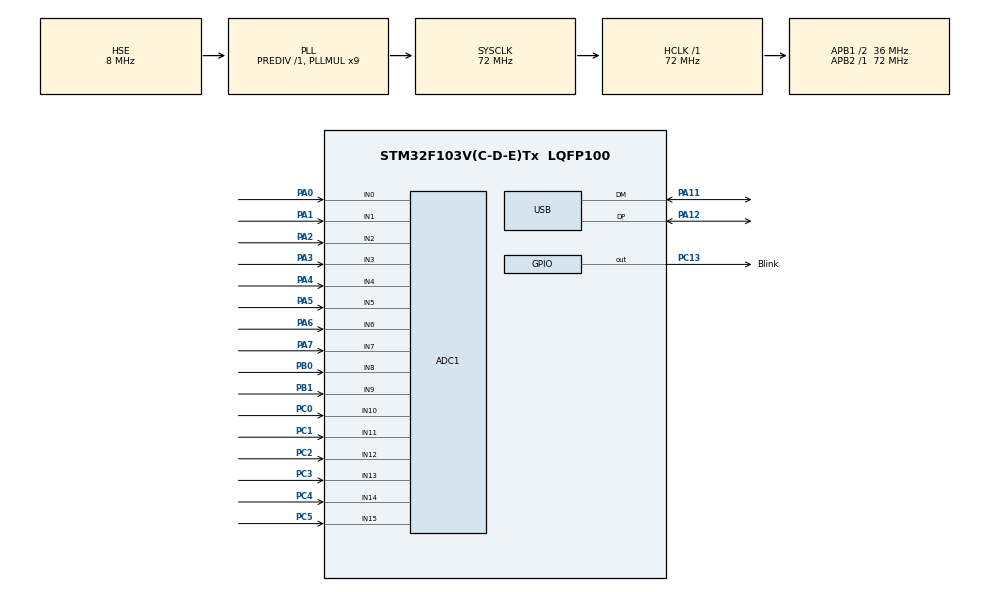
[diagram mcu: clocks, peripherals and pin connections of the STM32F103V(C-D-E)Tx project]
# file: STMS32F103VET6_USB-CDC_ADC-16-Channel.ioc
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ADC1.Channel-0\#ChannelRegularConversion=ADC_CHANNEL_0
ADC1.Channel-1\#ChannelRegularConversion=ADC_CHANNEL_1
ADC1.Channel-10\#ChannelRegularConversion=ADC_CHANNEL_10
ADC1.Channel-11\#ChannelRegularConversion=ADC_CHANNEL_11
ADC1.Channel-12\#ChannelRegularConversion=ADC_CHANNEL_12
ADC1.Channel-13\#ChannelRegularConversion=ADC_CHANNEL_13
ADC1.Channel-14\#ChannelRegularConversion=ADC_CHANNEL_14
ADC1.Channel-15\#ChannelRegularConversion=ADC_CHANNEL_15
ADC1.Channel-2\#ChannelRegularConversion=ADC_CHANNEL_2
ADC1.Channel-3\#ChannelRegularConversion=ADC_CHANNEL_3
ADC1.Channel-4\#ChannelRegularConversion=ADC_CHANNEL_4
ADC1.Channel-5\#ChannelRegularConversion=ADC_CHANNEL_5
ADC1.Channel-6\#ChannelRegularConversion=ADC_CHANNEL_6
ADC1.Channel-7\#ChannelRegularConversion=ADC_CHANNEL_7
ADC1.Channel-8\#ChannelRegularConversion=ADC_CHANNEL_8
ADC1.Channel-9\#ChannelRegularConversion=ADC_CHANNEL_9
ADC1.NbrOfConversion=16
ADC1.NbrOfConversionFlag=1
ADC1.Rank-0\#ChannelRegularConversion=1
ADC1.Rank-1\#ChannelRegularConversion=2
ADC1.Rank-10\#ChannelRegularConversion=11
ADC1.Rank-11\#ChannelRegularConversion=12
ADC1.Rank-12\#ChannelRegularConversion=13
ADC1.Rank-13\#ChannelRegularConversion=14
ADC1.Rank-14\#ChannelRegularConversion=15
ADC1.Rank-15\#ChannelRegularConversion=16
ADC1.Rank-2\#ChannelRegularConversion=3
ADC1.Rank-3\#ChannelRegularConversion=4
ADC1.Rank-4\#ChannelRegularConversion=5
ADC1.Rank-5\#ChannelRegularConversion=6
ADC1.Rank-6\#ChannelRegularConversion=7
ADC1.Rank-7\#ChannelRegularConversion=8
ADC1.Rank-8\#ChannelRegularConversion=9
ADC1.Rank-9\#ChannelRegularConversion=10
ADC1.SamplingTime-0\#ChannelRegularConversion=ADC_SAMPLETIME_239CYCLES_5
ADC1.SamplingTime-1\#ChannelRegularConversion=ADC_SAMPLETIME_239CYCLES_5
ADC1.SamplingTime-10\#ChannelRegularConversion=ADC_SAMPLETIME_239CYCLES_5
ADC1.SamplingTime-11\#ChannelRegularConversion=ADC_SAMPLETIME_239CYCLES_5
ADC1.SamplingTime-12\#ChannelRegularConversion=ADC_SAMPLETIME_239CYCLES_5
ADC1.SamplingTime-13\#ChannelRegularConversion=ADC_SAMPLETIME_239CYCLES_5
ADC1.SamplingTime-14\#ChannelRegularConversion=ADC_SAMPLETIME_239CYCLES_5
ADC1.SamplingTime-15\#ChannelRegularConversion=ADC_SAMPLETIME_239CYCLES_5
ADC1.SamplingTime-2\#ChannelRegularConversion=ADC_SAMPLETIME_239CYCLES_5
ADC1.SamplingTime-3\#ChannelRegularConversion=ADC_SAMPLETIME_239CYCLES_5
ADC1.SamplingTime-4\#ChannelRegularConversion=ADC_SAMPLETIME_239CYCLES_5
ADC1.SamplingTime-5\#ChannelRegularConversion=ADC_SAMPLETIME_239CYCLES_5
ADC1.SamplingTime-6\#ChannelRegularConversion=ADC_SAMPLETIME_239CYCLES_5
ADC1.SamplingTime-7\#ChannelRegularConversion=ADC_SAMPLETIME_239CYCLES_5
ADC1.SamplingTime-8\#ChannelRegularConversion=ADC_SAMPLETIME_239CYCLES_5
ADC1.SamplingTime-9\#ChannelRegularConversion=ADC_SAMPLETIME_239CYCLES_5
ADC1.master=1
Dma.ADC1.0.Direction=DMA_PERIPH_TO_MEMORY
Dma.ADC1.0.Instance=DMA1_Channel1
Dma.ADC1.0.MemDataAlignment=DMA_MDATAALIGN_HALFWORD
Dma.ADC1.0.MemInc=DMA_MINC_ENABLE
Dma.ADC1.0.Mode=DMA_CIRCULAR
Dma.ADC1.0.PeriphDataAlignment=DMA_PDATAALIGN_HALFWORD
Dma.ADC1.0.PeriphInc=DMA_PINC_DISABLE
Dma.ADC1.0.Priority=DMA_PRIORITY_LOW
Dma.Request0=ADC1
Mcu.Family=STM32F1
Mcu.Name=STM32F103V(C-D-E)Tx
Mcu.Package=LQFP100
NVIC.DMA1_Channel1_IRQn=true\:0\:0\:false\:false\:true
NVIC.PriorityGroup=NVIC_PRIORITYGROUP_4
NVIC.USB_LP_CAN1_RX0_IRQn=true\:0\:0\:false\:false\:true
OSC_IN.Mode=HSE-External-Oscillator
OSC_IN.Signal=RCC_OSC_IN
OSC_OUT.Mode=HSE-External-Oscillator
OSC_OUT.Signal=RCC_OSC_OUT
PA0-WKUP.Signal=ADCx_IN0
PA1.Signal=ADCx_IN1
PA11.Mode=Device
PA11.Signal=USB_DM
PA12.Mode=Device
PA12.Signal=USB_DP
PA13.Mode=Serial_Wire
PA13.Signal=SYS_JTMS-SWDIO
PA14.Mode=Serial_Wire
PA14.Signal=SYS_JTCK-SWCLK
PA2.Signal=ADCx_IN2
PA3.Signal=ADCx_IN3
PA4.Signal=ADCx_IN4
PA5.Signal=ADCx_IN5
PA6.Signal=ADCx_IN6
PA7.Signal=ADCx_IN7
PB0.Signal=ADCx_IN8
PB1.Signal=ADCx_IN9
PC0.Signal=ADCx_IN10
PC1.Signal=ADCx_IN11
PC13-TAMPER-RTC.GPIO_Label=Blink
PC13-TAMPER-RTC.Signal=GPIO_Output
PC2.Signal=ADCx_IN12
PC3.Signal=ADCx_IN13
PC4.Signal=ADCx_IN14
PC5.Signal=ADCx_IN15
ProjectManager.HeapSize=0x200
ProjectManager.StackSize=0x400
ProjectManager.TargetToolchain=MDK-ARM V5
RCC.ADCPresc=RCC_ADCPCLK2_DIV6
RCC.AHBFreq_Value=72000000
RCC.APB1CLKDivider=RCC_HCLK_DIV2
RCC.APB1Freq_Value=36000000
RCC.APB1TimFreq_Value=72000000
RCC.APB2Freq_Value=72000000
RCC.APB2TimFreq_Value=72000000
RCC.HCLKFreq_Value=72000000
RCC.HSIState=RCC_HSI_ON
RCC.PLLMUL=RCC_PLL_MUL9
RCC.SYSCLKFreq_VALUE=72000000
RCC.SYSCLKSource=RCC_SYSCLKSOURCE_PLLCLK
RCC.USBFreq_Value=48000000
RCC.USBPrescaler=RCC_USBCLKSOURCE_PLL_DIV1_5
SH.ADCx_IN0.0=ADC1_IN0,IN0
SH.ADCx_IN1.0=ADC1_IN1,IN1
SH.ADCx_IN10.0=ADC1_IN10,IN10
SH.ADCx_IN11.0=ADC1_IN11,IN11
SH.ADCx_IN12.0=ADC1_IN12,IN12
SH.ADCx_IN13.0=ADC1_IN13,IN13
SH.ADCx_IN14.0=ADC1_IN14,IN14
SH.ADCx_IN15.0=ADC1_IN15,IN15
SH.ADCx_IN2.0=ADC1_IN2,IN2
SH.ADCx_IN3.0=ADC1_IN3,IN3
SH.ADCx_IN4.0=ADC1_IN4,IN4
SH.ADCx_IN5.0=ADC1_IN5,IN5
SH.ADCx_IN6.0=ADC1_IN6,IN6
SH.ADCx_IN7.0=ADC1_IN7,IN7
SH.ADCx_IN8.0=ADC1_IN8,IN8
SH.ADCx_IN9.0=ADC1_IN9,IN9
USB.ep0_mps=DEP0CTL_MPS_64
USB_DEVICE.CLASS_NAME_FS=CDC
USB_DEVICE.MANUFACTURER_STRING=Electronic4U
USB_DEVICE.USBD_HandleTypeDef=hUsbDeviceFS
USB_DEVICE.VirtualMode=Cdc
USB_DEVICE.VirtualModeFS=Cdc_FS
VP_USB_DEVICE_VS_USB_DEVICE_CDC_FS.Mode=CDC_FS
board=STMS32F103VET6_USB-CDC_ADC-16-Channel

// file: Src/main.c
/**
  ******************************************************************************
  * File Name          : main.c
  * Description        : Main program body
  ******************************************************************************
  *
  * Copyright (c) 2016 STMicroelectronics International N.V.
  * All rights reserved.
  *
  * Redistribution and use in source and binary forms, with or without
  * modification, are permitted, provided that the following conditions are met:
  *
  * 1. Redistribution of source code must retain the above copyright notice,
  *    this list of conditions and the following disclaimer.
  * 2. Redistributions in binary form must reproduce the above copyright notice,
  *    this list of conditions and the following disclaimer in the documentation
  *    and/or other materials provided with the distribution.
  * 3. Neither the name of STMicroelectronics nor the names of other
  *    contributors to this software may be used to endorse or promote products
  *    derived from this software without specific written permission.
  * 4. This software, including modifications and/or derivative works of this
  *    software, must execute solely and exclusively on microcontroller or
  *    microprocessor devices manufactured by or for STMicroelectronics.
  * 5. Redistribution and use of this software other than as permitted under
  *    this license is void and will automatically terminate your rights under
  *    this license.
  *
  * THIS SOFTWARE IS PROVIDED BY STMICROELECTRONICS AND CONTRIBUTORS "AS IS"
  * AND ANY EXPRESS, IMPLIED OR STATUTORY WARRANTIES, INCLUDING, BUT NOT
  * LIMITED TO, THE IMPLIED WARRANTIES OF MERCHANTABILITY, FITNESS FOR A
  * PARTICULAR PURPOSE AND NON-INFRINGEMENT OF THIRD PARTY INTELLECTUAL PROPERTY
  * RIGHTS ARE DISCLAIMED TO THE FULLEST EXTENT PERMITTED BY LAW. IN NO EVENT
  * SHALL STMICROELECTRONICS OR CONTRIBUTORS BE LIABLE FOR ANY DIRECT, INDIRECT,
  * INCIDENTAL, SPECIAL, EXEMPLARY, OR CONSEQUENTIAL DAMAGES (INCLUDING, BUT NOT
  * LIMITED TO, PROCUREMENT OF SUBSTITUTE GOODS OR SERVICES; LOSS OF USE, DATA,
  * OR PROFITS; OR BUSINESS INTERRUPTION) HOWEVER CAUSED AND ON ANY THEORY OF
  * LIABILITY, WHETHER IN CONTRACT, STRICT LIABILITY, OR TORT (INCLUDING
  * NEGLIGENCE OR OTHERWISE) ARISING IN ANY WAY OUT OF THE USE OF THIS SOFTWARE,
  * EVEN IF ADVISED OF THE POSSIBILITY OF SUCH DAMAGE.
  *
  ******************************************************************************
  */
#include "main.h"
#include "stm32f1xx_hal.h"
#include "usb_device.h"

/* USER CODE BEGIN Includes */
#include "usbd_cdc_if.h"
/* USER CODE END Includes */

ADC_HandleTypeDef hadc1;
DMA_HandleTypeDef hdma_adc1;

/* USER CODE BEGIN PV */
/* Private variables ---------------------------------------------------------*/

/* USER CODE END PV */

void SystemClock_Config(void);
void Error_Handler(void);
static void MX_GPIO_Init(void);
static void MX_DMA_Init(void);
static void MX_ADC1_Init(void);

/* USER CODE BEGIN PFP */
/* Private function prototypes -----------------------------------------------*/

/* USER CODE END PFP */

/* USER CODE BEGIN 0 */
unsigned char ADC_Data[5];
uint16_t ADC_Value[16];

uint8_t RX_Data[64];
uint8_t RX_Size;
uint8_t mystring[] = "Electronic4U \r";
/* USER CODE END 0 */

int main(void)
{

  /* MCU Configuration----------------------------------------------------------*/

  /* Reset of all peripherals, Initializes the Flash interface and the Systick. */
  HAL_Init();

  /* Configure the system clock */
  SystemClock_Config();

  /* Initialize all configured peripherals */
  MX_GPIO_Init();
  MX_DMA_Init();
  MX_ADC1_Init();
  MX_USB_DEVICE_Init();

  /* Infinite loop */
  while (1)
  {

  /* USER CODE BEGIN 3 */
		//CDC_Transmit_FS(RX_Data, RX_Size); 		// Gui "Receive_Data - kieu Char" da nhan duoc qua cong USB

		HAL_ADC_Start_DMA(&hadc1,(uint32_t*)&ADC_Value,16);		// Bat dau thuc hien doc 16 ADC vao mang ADC_Value chua 16 gia tri
		HAL_Delay(1);
		HAL_ADC_Stop_DMA(&hadc1);															// Ket thuc qua trinh doc ADC

		sprintf((char *)ADC_Data,"%5d",ADC_Value[0]);							// Chuyen doi "ADC_Value[0] - kieu uint16_t" sang "ADC_Data - kieu Char"
		CDC_Transmit_FS(ADC_Data, strlen((const char*)ADC_Data));	// Gui "ADC_Data - kieu Char" da nhan duoc qua cong USB
		sprintf((char *)ADC_Data,"%5d",ADC_Value[1]);
		CDC_Transmit_FS(ADC_Data, strlen((const char*)ADC_Data));
		HAL_GPIO_TogglePin(GPIOC, GPIO_PIN_13);
		HAL_Delay(2000);
  }
  /* USER CODE END 3 */

}

/** System Clock Configuration
*/
void SystemClock_Config(void)
{

  RCC_OscInitTypeDef RCC_OscInitStruct;
  RCC_ClkInitTypeDef RCC_ClkInitStruct;
  RCC_PeriphCLKInitTypeDef PeriphClkInit;

    /**Initializes the CPU, AHB and APB busses clocks
    */
  RCC_OscInitStruct.OscillatorType = RCC_OSCILLATORTYPE_HSE;
  RCC_OscInitStruct.HSEState = RCC_HSE_ON;
  RCC_OscInitStruct.HSEPredivValue = RCC_HSE_PREDIV_DIV1;
  RCC_OscInitStruct.HSIState = RCC_HSI_ON;
  RCC_OscInitStruct.PLL.PLLState = RCC_PLL_ON;
  RCC_OscInitStruct.PLL.PLLSource = RCC_PLLSOURCE_HSE;
  RCC_OscInitStruct.PLL.PLLMUL = RCC_PLL_MUL9;
  if (HAL_RCC_OscConfig(&RCC_OscInitStruct) != HAL_OK)
  {
    Error_Handler();
  }

    /**Initializes the CPU, AHB and APB busses clocks
    */
  RCC_ClkInitStruct.ClockType = RCC_CLOCKTYPE_HCLK|RCC_CLOCKTYPE_SYSCLK
                              |RCC_CLOCKTYPE_PCLK1|RCC_CLOCKTYPE_PCLK2;
  RCC_ClkInitStruct.SYSCLKSource = RCC_SYSCLKSOURCE_PLLCLK;
  RCC_ClkInitStruct.AHBCLKDivider = RCC_SYSCLK_DIV1;
  RCC_ClkInitStruct.APB1CLKDivider = RCC_HCLK_DIV2;
  RCC_ClkInitStruct.APB2CLKDivider = RCC_HCLK_DIV1;

  if (HAL_RCC_ClockConfig(&RCC_ClkInitStruct, FLASH_LATENCY_2) != HAL_OK)
  {
    Error_Handler();
  }

  PeriphClkInit.PeriphClockSelection = RCC_PERIPHCLK_ADC|RCC_PERIPHCLK_USB;
  PeriphClkInit.AdcClockSelection = RCC_ADCPCLK2_DIV6;
  PeriphClkInit.UsbClockSelection = RCC_USBCLKSOURCE_PLL_DIV1_5;
  if (HAL_RCCEx_PeriphCLKConfig(&PeriphClkInit) != HAL_OK)
  {
    Error_Handler();
  }

    /**Configure the Systick interrupt time
    */
  HAL_SYSTICK_Config(HAL_RCC_GetHCLKFreq()/1000);

    /**Configure the Systick
    */
  HAL_SYSTICK_CLKSourceConfig(SYSTICK_CLKSOURCE_HCLK);

  /* SysTick_IRQn interrupt configuration */
  HAL_NVIC_SetPriority(SysTick_IRQn, 0, 0);
}

/* ADC1 init function */
static void MX_ADC1_Init(void)
{

  ADC_ChannelConfTypeDef sConfig;

    /**Common config
    */
  hadc1.Instance = ADC1;
  hadc1.Init.ScanConvMode = ADC_SCAN_ENABLE;
  hadc1.Init.ContinuousConvMode = DISABLE;
  hadc1.Init.DiscontinuousConvMode = DISABLE;
  hadc1.Init.ExternalTrigConv = ADC_SOFTWARE_START;
  hadc1.Init.DataAlign = ADC_DATAALIGN_RIGHT;
  hadc1.Init.NbrOfConversion = 16;
  if (HAL_ADC_Init(&hadc1) != HAL_OK)
  {
    Error_Handler();
  }

    /**Configure Regular Channel
    */
  sConfig.Channel = ADC_CHANNEL_0;
  sConfig.Rank = 1;
  sConfig.SamplingTime = ADC_SAMPLETIME_239CYCLES_5;
  if (HAL_ADC_ConfigChannel(&hadc1, &sConfig) != HAL_OK)
  {
    Error_Handler();
  }

    /**Configure Regular Channel
    */
  sConfig.Channel = ADC_CHANNEL_1;
  sConfig.Rank = 2;
  if (HAL_ADC_ConfigChannel(&hadc1, &sConfig) != HAL_OK)
  {
    Error_Handler();
  }

    /**Configure Regular Channel
    */
  sConfig.Channel = ADC_CHANNEL_2;
  sConfig.Rank = 3;
  if (HAL_ADC_ConfigChannel(&hadc1, &sConfig) != HAL_OK)
  {
    Error_Handler();
  }

    /**Configure Regular Channel
    */
  sConfig.Channel = ADC_CHANNEL_3;
  sConfig.Rank = 4;
  if (HAL_ADC_ConfigChannel(&hadc1, &sConfig) != HAL_OK)
  {
    Error_Handler();
  }

    /**Configure Regular Channel
    */
  sConfig.Channel = ADC_CHANNEL_4;
  sConfig.Rank = 5;
  if (HAL_ADC_ConfigChannel(&hadc1, &sConfig) != HAL_OK)
  {
    Error_Handler();
  }

    /**Configure Regular Channel
    */
  sConfig.Channel = ADC_CHANNEL_5;
  sConfig.Rank = 6;
  if (HAL_ADC_ConfigChannel(&hadc1, &sConfig) != HAL_OK)
  {
    Error_Handler();
  }

    /**Configure Regular Channel
    */
  sConfig.Channel = ADC_CHANNEL_6;
  sConfig.Rank = 7;
  if (HAL_ADC_ConfigChannel(&hadc1, &sConfig) != HAL_OK)
  {
    Error_Handler();
  }

    /**Configure Regular Channel
    */
  sConfig.Channel = ADC_CHANNEL_7;
  sConfig.Rank = 8;
  if (HAL_ADC_ConfigChannel(&hadc1, &sConfig) != HAL_OK)
  {
    Error_Handler();
  }

    /**Configure Regular Channel
    */
  sConfig.Channel = ADC_CHANNEL_8;
  sConfig.Rank = 9;
  if (HAL_ADC_ConfigChannel(&hadc1, &sConfig) != HAL_OK)
  {
    Error_Handler();
  }

    /**Configure Regular Channel
    */
  sConfig.Channel = ADC_CHANNEL_9;
  sConfig.Rank = 10;
  if (HAL_ADC_ConfigChannel(&hadc1, &sConfig) != HAL_OK)
  {
    Error_Handler();
  }

    /**Configure Regular Channel
    */
  sConfig.Channel = ADC_CHANNEL_10;
  sConfig.Rank = 11;
  if (HAL_ADC_ConfigChannel(&hadc1, &sConfig) != HAL_OK)
  {
    Error_Handler();
  }

    /**Configure Regular Channel
    */
  sConfig.Channel = ADC_CHANNEL_11;
  sConfig.Rank = 12;
  if (HAL_ADC_ConfigChannel(&hadc1, &sConfig) != HAL_OK)
  {
    Error_Handler();
  }

    /**Configure Regular Channel
    */
  sConfig.Channel = ADC_CHANNEL_12;
  sConfig.Rank = 13;
  if (HAL_ADC_ConfigChannel(&hadc1, &sConfig) != HAL_OK)
  {
    Error_Handler();
  }

    /**Configure Regular Channel
    */
  sConfig.Channel = ADC_CHANNEL_13;
  sConfig.Rank = 14;
  if (HAL_ADC_ConfigChannel(&hadc1, &sConfig) != HAL_OK)
  {
    Error_Handler();
  }

    /**Configure Regular Channel
    */
  sConfig.Channel = ADC_CHANNEL_14;
  sConfig.Rank = 15;
  if (HAL_ADC_ConfigChannel(&hadc1, &sConfig) != HAL_OK)
  {
    Error_Handler();
  }

    /**Configure Regular Channel
    */
  sConfig.Channel = ADC_CHANNEL_15;
  sConfig.Rank = 16;
  if (HAL_ADC_ConfigChannel(&hadc1, &sConfig) != HAL_OK)
  {
    Error_Handler();
  }

}

static void MX_DMA_Init(void)
{
  /* DMA controller clock enable */
  __HAL_RCC_DMA1_CLK_ENABLE();

  /* DMA interrupt init */
  /* DMA1_Channel1_IRQn interrupt configuration */
  HAL_NVIC_SetPriority(DMA1_Channel1_IRQn, 0, 0);
  HAL_NVIC_EnableIRQ(DMA1_Channel1_IRQn);

}

/** Configure pins as
        * Analog
        * Input
        * Output
        * EVENT_OUT
        * EXTI
*/
static void MX_GPIO_Init(void)
{

  GPIO_InitTypeDef GPIO_InitStruct;

  /* GPIO Ports Clock Enable */
  __HAL_RCC_GPIOC_CLK_ENABLE();
  __HAL_RCC_GPIOA_CLK_ENABLE();
  __HAL_RCC_GPIOB_CLK_ENABLE();

  /*Configure GPIO pin Output Level */
  HAL_GPIO_WritePin(Blink_GPIO_Port, Blink_Pin, GPIO_PIN_RESET);

  /*Configure GPIO pin : Blink_Pin */
  GPIO_InitStruct.Pin = Blink_Pin;
  GPIO_InitStruct.Mode = GPIO_MODE_OUTPUT_PP;
  GPIO_InitStruct.Speed = GPIO_SPEED_FREQ_LOW;
  HAL_GPIO_Init(Blink_GPIO_Port, &GPIO_InitStruct);

}

void Error_Handler(void)
{
  while(1)
  {
  }
}

/************************ (C) COPYRIGHT STMicroelectronics *****END OF FILE****/
